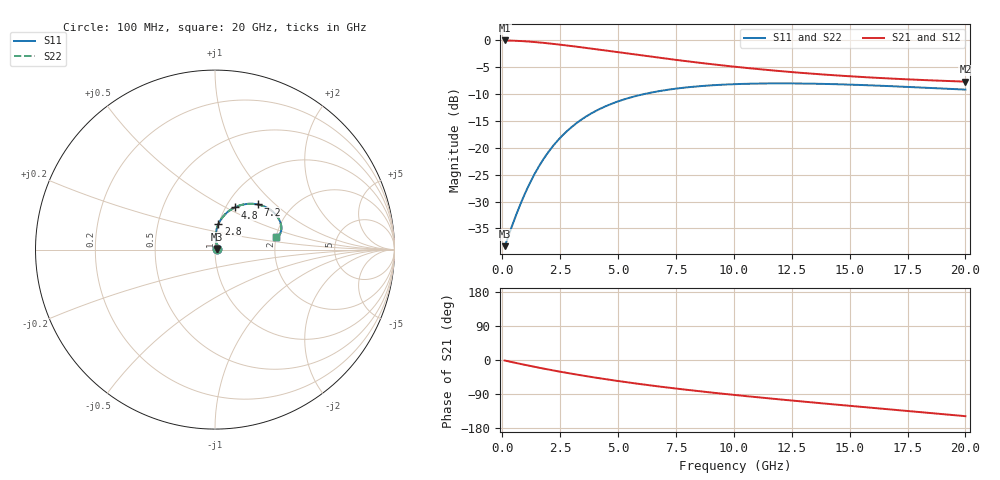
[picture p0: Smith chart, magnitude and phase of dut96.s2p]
! Touchstone file exported from HFSS 2024.1.0
!  File:  C:/UserFiles/LocalFiles/RDL_TSV_Batchsim/temp_RDL_TSV_96_1779418644.aedt
!  Generated:  11:14:30 AM May 22, 2026
!  Design:  RDL_TSV
!  Project:  temp_RDL_TSV_96_1779418644
!  Setup:  Setup1
!  Solution:  Sweep
! Variables:
!  dtsv = 6.47um
!  hbump = 3um
!  htsv = 79.87um
!  ldown = 405.82um
!  lrdl = 179.91um
!  p = 40
!  p1 = 58.29um
!  rhole = 10um
!  subl = 1937.1um
!  t = 450um
!  tdown = 3.67um
!  trdl = 4.49um
!  viad = 10um
!  wdown = 15.57um
!  wrdl = 23.21um
!  xbump = 18um
# GHz S MA R 50.000000
! Terminal data exported
! Port[1] = TM1_1_T1
! Port[2] = TM1_4_T1
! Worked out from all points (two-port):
!   200 points, 100 MHz to 20 GHz, reference 50 ohm
!   highest |S21| = -0.10 dB at 100 MHz (marker M1); lowest = -7.7 dB at 20 GHz (marker M2)
!   |S21| within 3 dB of the highest: start of sweep to 6.415 GHz
!   lowest |S11| = -38.3 dB at 100 MHz (marker M3), VSWR 1.02, Z = 51.2 + j0.384 ohm
!   |S11| at or under -10 dB: start of sweep to 6.184 GHz
!   |S22| runs from -38.3 to -8.1 dB; largest |S21 - S12| = 1.5e-14
!   S11 on the Smith chart (normalised r, x): 100 MHz: 1.02, +0.01; 2.8 GHz: 1.00, +0.29; 4.8 GHz: 1.10, +0.55; 7.2 GHz: 1.36, +0.78; 20 GHz: 1.99, +0.32
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0.1  0.01217 17.9  0.9882 -1.4  0.9882 -1.4  0.01217 17.9
! Gamma 0 0 0 0
! Port Impedance 50 0 50 0
0.5  0.02088 58.2  0.9829 -6.7  0.9829 -6.7  0.02089 58.2
0.8  0.03049 72.8  0.976 -10.6  0.976 -10.6  0.03049 72.8
1.1  0.0427 81.0  0.9668 -14.4  0.9668 -14.4  0.04269 81.0
1.4  0.05726 85.2  0.9555 -18.1  0.9555 -18.1  0.05723 85.2
1.7  0.07374 86.9  0.9426 -21.7  0.9426 -21.7  0.07369 86.9
2.1  0.09785 86.6  0.9236 -26.4  0.9236 -26.4  0.09777 86.6
2.4  0.1169 85.2  0.9083 -29.8  0.9083 -29.8  0.1168 85.2
2.8  0.1428 82.5  0.8872 -34.1  0.8872 -34.1  0.1427 82.5
3.5  0.1872 76.6  0.8492 -41.4  0.8492 -41.4  0.187 76.6
4.1  0.2225 71.2  0.8166 -47.2  0.8166 -47.2  0.2223 71.2
4.8  0.2592 65.0  0.7793 -53.7  0.7793 -53.7  0.259 64.9
5.7  0.2986 57.5  0.7336 -61.4  0.7336 -61.4  0.2984 57.5
6.8  0.3353 49.4  0.6822 -70.1  0.6822 -70.1  0.3351 49.4
7.2  0.3459 46.7  0.6649 -73.1  0.6649 -73.1  0.3457 46.7
8.6  0.3731 38.5  0.6103 -83.0  0.6103 -83.0  0.3728 38.5
10.1  0.3888 31.3  0.5618 -92.7  0.5618 -92.7  0.3886 31.3
11.7  0.3947 25.1  0.5201 -102.3  0.5201 -102.3  0.3945 25.1
13.4  0.3924 20.0  0.4853 -112.0  0.4853 -112.0  0.3922 19.9
15  0.3846 16.3  0.4597 -120.9  0.4597 -120.9  0.3845 16.3
16.7  0.3726 13.6  0.4385 -130.2  0.4385 -130.2  0.3725 13.5
20  0.3457 11.7  0.4098 -148.3  0.4098 -148.3  0.3456 11.7
